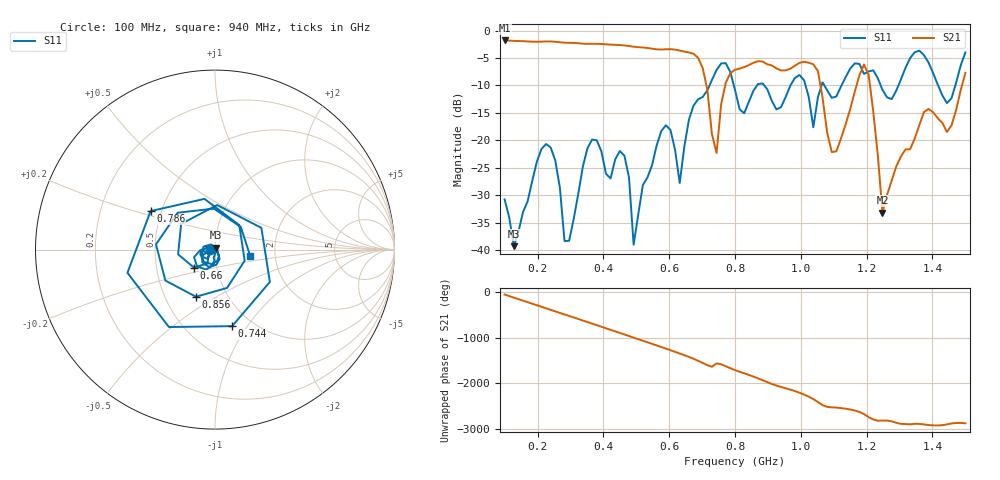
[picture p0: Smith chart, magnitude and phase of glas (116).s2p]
! NanoVNA-App
! Date: 2025-09-25 17:39:41
! Start: 100MHz Stop: 1,5GHz Points: 101
! S-Parameter data: F S11 S21 S12 S22
# Hz S RI R 50
!  Frequency  S11_Real  S11_Imag  S21_Real  S21_Imag  S12_Real  S12_Imag  S22_Real  S22_Imag
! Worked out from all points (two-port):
!   101 points, 100 MHz to 1.5 GHz, reference 50 ohm
!   highest |S21| = -1.80 dB at 100 MHz (marker M1); lowest = -33.2 dB at 1.248 GHz (marker M2)
!   |S21| within 3 dB of the highest: start of sweep to 684.8 MHz
!   lowest |S11| = -39.3 dB at 128 MHz (marker M3), VSWR 1.02, Z = 50.3 + j1.04 ohm
!   |S11| at or under -10 dB: start of sweep to 722.6 MHz; 796.5 MHz to 867 MHz (70.45 MHz wide, 8.47 % of centre); 888.9 MHz to 968.3 MHz (79.44 MHz wide, 8.55 % of centre)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
!   S12 and S22 are empty: the file has one direction only
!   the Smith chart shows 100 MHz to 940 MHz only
!   S11 on the Smith chart (normalised r, x): 100 MHz: 0.94, -0.01; 660 MHz: 0.78, -0.16; 744 MHz: 0.81, -0.85; 786 MHz: 0.44, +0.23; 856 MHz: 0.71, -0.41; 940 MHz: 1.49, -0.12
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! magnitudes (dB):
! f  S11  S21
! 100 MHz  -30.8  -1.8
! 128 MHz  -39.3  -1.9
! 212 MHz  -21.6  -2.0
! 254 MHz  -23.7  -2.0
! 282 MHz  -38.4  -2.2
! 338 MHz  -24.7  -2.4
! 464 MHz  -22.8  -2.7
! 492 MHz  -39.0  -2.9
! 576 MHz  -18.3  -3.4
! 632 MHz  -27.8  -3.6
! 660 MHz  -16.2  -4.0
! 744 MHz  -7.2  -22.3
! 786 MHz  -7.6  -7.7
! 800 MHz  -10.8  -7.1
! 856 MHz  -11.0  -5.9
! 940 MHz  -13.9  -7.3
! 1.038 GHz  -17.6  -6.1
! 1.094 GHz  -12.3  -22.1
! 1.192 GHz  -7.9  -6.2
! 1.248 GHz  -10.8  -33.2
! 1.276 GHz  -12.5  -27.3
! 1.5 GHz  -4.0  -7.7
